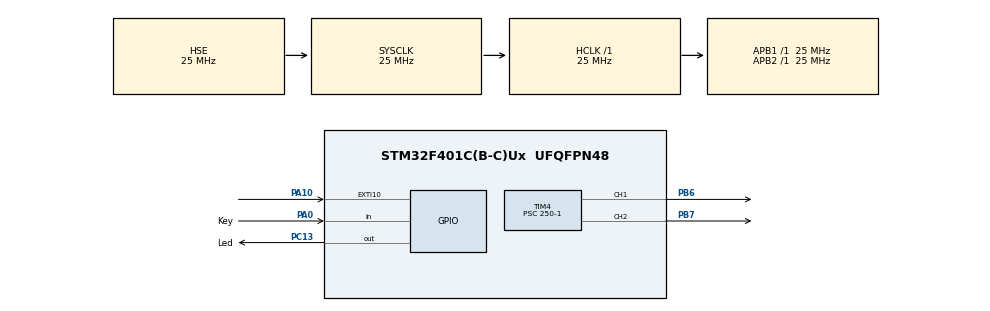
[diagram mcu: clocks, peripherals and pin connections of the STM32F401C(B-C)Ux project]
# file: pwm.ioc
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FREERTOS.Tasks01=pwm01Task,24,128,StartPwm01Task,Default,NULL,Dynamic,NULL,NULL;pwm02Task,24,128,StartPwm02Task,Default,NULL,Dynamic,NULL,NULL
FREERTOS.configUSE_NEWLIB_REENTRANT=1
Mcu.Family=STM32F4
Mcu.Name=STM32F401C(B-C)Ux
Mcu.Package=UFQFPN48
NVIC.EXTI15_10_IRQn=true\:0\:0\:false\:false\:true\:false\:true\:true\:true
NVIC.PriorityGroup=NVIC_PRIORITYGROUP_4
NVIC.TIM2_IRQn=true\:15\:0\:false\:false\:true\:false\:false\:true\:true
NVIC.TimeBase=TIM2_IRQn
NVIC.TimeBaseIP=TIM2
PA0-WKUP.GPIO_Label=Key
PA0-WKUP.GPIO_PuPd=GPIO_PULLUP
PA0-WKUP.Signal=GPIO_Input
PA10.GPIO_PuPd=GPIO_PULLUP
PA10.Signal=GPXTI10
PA13.Mode=Serial_Wire
PA13.Signal=SYS_JTMS-SWDIO
PA14.Mode=Serial_Wire
PA14.Signal=SYS_JTCK-SWCLK
PB6.Signal=S_TIM4_CH1
PB7.Signal=S_TIM4_CH2
PC13-ANTI_TAMP.GPIO_Label=Led
PC13-ANTI_TAMP.Signal=GPIO_Output
PC14-OSC32_IN.Mode=LSE-External-Oscillator
PC14-OSC32_IN.Signal=RCC_OSC32_IN
PC15-OSC32_OUT.Mode=LSE-External-Oscillator
PC15-OSC32_OUT.Signal=RCC_OSC32_OUT
PH0\ -\ OSC_IN.Mode=HSE-External-Oscillator
PH0\ -\ OSC_IN.Signal=RCC_OSC_IN
PH1\ -\ OSC_OUT.Mode=HSE-External-Oscillator
PH1\ -\ OSC_OUT.Signal=RCC_OSC_OUT
ProjectManager.HeapSize=0x200
ProjectManager.StackSize=0x400
ProjectManager.TargetToolchain=STM32CubeIDE
RCC.48MHZClocksFreq_Value=75000000
RCC.AHBFreq_Value=25000000
RCC.APB1Freq_Value=25000000
RCC.APB1TimFreq_Value=25000000
RCC.APB2Freq_Value=25000000
RCC.APB2TimFreq_Value=25000000
RCC.CortexFreq_Value=25000000
RCC.HCLKFreq_Value=25000000
RCC.HSE_VALUE=25000000
RCC.HSI_VALUE=16000000
RCC.PLLSourceVirtual=RCC_PLLSOURCE_HSE
RCC.SYSCLKFreq_VALUE=25000000
RCC.SYSCLKSource=RCC_SYSCLKSOURCE_HSE
RCC.VCOOutputFreq_Value=300000000
SH.S_TIM4_CH1.0=TIM4_CH1,PWM Generation1 CH1
SH.S_TIM4_CH2.0=TIM4_CH2,PWM Generation2 CH2
TIM4.Channel-PWM\ Generation1\ CH1=TIM_CHANNEL_1
TIM4.Channel-PWM\ Generation2\ CH2=TIM_CHANNEL_2
TIM4.Period=100-1
TIM4.Prescaler=250-1
TIM4.Pulse-PWM\ Generation1\ CH1=50-1
TIM4.Pulse-PWM\ Generation2\ CH2=25-1
VP_FREERTOS_VS_CMSIS_V2.Mode=CMSIS_V2
VP_SYS_VS_tim2.Mode=TIM2
board=custom

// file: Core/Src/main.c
/* USER CODE BEGIN Header */
/**
  ******************************************************************************
  * @file           : main.c
  * @brief          : Main program body
  ******************************************************************************
  * @attention
  *
  * Copyright (c) 2023 STMicroelectronics.
  * All rights reserved.
  *
  * This software is licensed under terms that can be found in the LICENSE file
  * in the root directory of this software component.
  * If no LICENSE file comes with this software, it is provided AS-IS.
  *
  ******************************************************************************
  */
/* USER CODE END Header */
#include "main.h"
#include "cmsis_os.h"

TIM_HandleTypeDef htim4;

/* Definitions for pwm01Task */
osThreadId_t pwm01TaskHandle;
const osThreadAttr_t pwm01Task_attributes = {
  .name = "pwm01Task",
  .stack_size = 128 * 4,
  .priority = (osPriority_t) osPriorityNormal,
};
/* Definitions for pwm02Task */
osThreadId_t pwm02TaskHandle;
const osThreadAttr_t pwm02Task_attributes = {
  .name = "pwm02Task",
  .stack_size = 128 * 4,
  .priority = (osPriority_t) osPriorityNormal,
};
/* USER CODE BEGIN PV */

int dutyCycle=0;
int count=0;

/* USER CODE END PV */

void SystemClock_Config(void);
static void MX_GPIO_Init(void);
static void MX_TIM4_Init(void);
void StartPwm01Task(void *argument);
void StartPwm02Task(void *argument);

int main(void)
{

  /* MCU Configuration--------------------------------------------------------*/

  /* Reset of all peripherals, Initializes the Flash interface and the Systick. */
  HAL_Init();

  /* Configure the system clock */
  SystemClock_Config();

  /* Initialize all configured peripherals */
  MX_GPIO_Init();
  MX_TIM4_Init();
  /* USER CODE BEGIN 2 */

  HAL_TIM_PWM_Start(&htim4,TIM_CHANNEL_1);
  HAL_TIM_PWM_Start(&htim4,TIM_CHANNEL_2);

  /* USER CODE END 2 */

  /* Init scheduler */
  osKernelInitialize();

  /* Create the thread(s) */
  /* creation of pwm01Task */
  pwm01TaskHandle = osThreadNew(StartPwm01Task, NULL, &pwm01Task_attributes);

  /* creation of pwm02Task */
  pwm02TaskHandle = osThreadNew(StartPwm02Task, NULL, &pwm02Task_attributes);

  /* Start scheduler */
  osKernelStart();

  /* We should never get here as control is now taken by the scheduler */
  /* Infinite loop */
  while (1)
  {

  }
}

void SystemClock_Config(void)
{
  RCC_OscInitTypeDef RCC_OscInitStruct = {0};
  RCC_ClkInitTypeDef RCC_ClkInitStruct = {0};

  /** Configure the main internal regulator output voltage
  */
  __HAL_RCC_PWR_CLK_ENABLE();
  __HAL_PWR_VOLTAGESCALING_CONFIG(PWR_REGULATOR_VOLTAGE_SCALE2);

  /** Initializes the RCC Oscillators according to the specified parameters
  * in the RCC_OscInitTypeDef structure.
  */
  RCC_OscInitStruct.OscillatorType = RCC_OSCILLATORTYPE_HSE;
  RCC_OscInitStruct.HSEState = RCC_HSE_ON;
  RCC_OscInitStruct.PLL.PLLState = RCC_PLL_NONE;
  if (HAL_RCC_OscConfig(&RCC_OscInitStruct) != HAL_OK)
  {
    Error_Handler();
  }

  /** Initializes the CPU, AHB and APB buses clocks
  */
  RCC_ClkInitStruct.ClockType = RCC_CLOCKTYPE_HCLK|RCC_CLOCKTYPE_SYSCLK
                              |RCC_CLOCKTYPE_PCLK1|RCC_CLOCKTYPE_PCLK2;
  RCC_ClkInitStruct.SYSCLKSource = RCC_SYSCLKSOURCE_HSE;
  RCC_ClkInitStruct.AHBCLKDivider = RCC_SYSCLK_DIV1;
  RCC_ClkInitStruct.APB1CLKDivider = RCC_HCLK_DIV1;
  RCC_ClkInitStruct.APB2CLKDivider = RCC_HCLK_DIV1;

  if (HAL_RCC_ClockConfig(&RCC_ClkInitStruct, FLASH_LATENCY_0) != HAL_OK)
  {
    Error_Handler();
  }
}

static void MX_TIM4_Init(void)
{

  TIM_MasterConfigTypeDef sMasterConfig = {0};
  TIM_OC_InitTypeDef sConfigOC = {0};

  htim4.Instance = TIM4;
  htim4.Init.Prescaler = 250-1;
  htim4.Init.CounterMode = TIM_COUNTERMODE_UP;
  htim4.Init.Period = 100-1;
  htim4.Init.ClockDivision = TIM_CLOCKDIVISION_DIV1;
  htim4.Init.AutoReloadPreload = TIM_AUTORELOAD_PRELOAD_DISABLE;
  if (HAL_TIM_PWM_Init(&htim4) != HAL_OK)
  {
    Error_Handler();
  }
  sMasterConfig.MasterOutputTrigger = TIM_TRGO_RESET;
  sMasterConfig.MasterSlaveMode = TIM_MASTERSLAVEMODE_DISABLE;
  if (HAL_TIMEx_MasterConfigSynchronization(&htim4, &sMasterConfig) != HAL_OK)
  {
    Error_Handler();
  }
  sConfigOC.OCMode = TIM_OCMODE_PWM1;
  sConfigOC.Pulse = 50-1;
  sConfigOC.OCPolarity = TIM_OCPOLARITY_HIGH;
  sConfigOC.OCFastMode = TIM_OCFAST_DISABLE;
  if (HAL_TIM_PWM_ConfigChannel(&htim4, &sConfigOC, TIM_CHANNEL_1) != HAL_OK)
  {
    Error_Handler();
  }
  sConfigOC.Pulse = 25-1;
  if (HAL_TIM_PWM_ConfigChannel(&htim4, &sConfigOC, TIM_CHANNEL_2) != HAL_OK)
  {
    Error_Handler();
  }
  HAL_TIM_MspPostInit(&htim4);

}

static void MX_GPIO_Init(void)
{
  GPIO_InitTypeDef GPIO_InitStruct = {0};

  /* GPIO Ports Clock Enable */
  __HAL_RCC_GPIOC_CLK_ENABLE();
  __HAL_RCC_GPIOH_CLK_ENABLE();
  __HAL_RCC_GPIOA_CLK_ENABLE();
  __HAL_RCC_GPIOB_CLK_ENABLE();

  /*Configure GPIO pin Output Level */
  HAL_GPIO_WritePin(Led_GPIO_Port, Led_Pin, GPIO_PIN_RESET);

  /*Configure GPIO pin : Led_Pin */
  GPIO_InitStruct.Pin = Led_Pin;
  GPIO_InitStruct.Mode = GPIO_MODE_OUTPUT_PP;
  GPIO_InitStruct.Pull = GPIO_NOPULL;
  GPIO_InitStruct.Speed = GPIO_SPEED_FREQ_LOW;
  HAL_GPIO_Init(Led_GPIO_Port, &GPIO_InitStruct);

  /*Configure GPIO pin : Key_Pin */
  GPIO_InitStruct.Pin = Key_Pin;
  GPIO_InitStruct.Mode = GPIO_MODE_INPUT;
  GPIO_InitStruct.Pull = GPIO_PULLUP;
  HAL_GPIO_Init(Key_GPIO_Port, &GPIO_InitStruct);

  /*Configure GPIO pin : PA10 */
  GPIO_InitStruct.Pin = GPIO_PIN_10;
  GPIO_InitStruct.Mode = GPIO_MODE_IT_RISING;
  GPIO_InitStruct.Pull = GPIO_PULLUP;
  HAL_GPIO_Init(GPIOA, &GPIO_InitStruct);

  /* EXTI interrupt init*/
  HAL_NVIC_SetPriority(EXTI15_10_IRQn, 0, 0);
  HAL_NVIC_EnableIRQ(EXTI15_10_IRQn);

}

/* USER CODE BEGIN 4 */

void HAL_GPIO_EXTI_Callback(uint16_t GPIO_Pin){

	if(GPIO_Pin == GPIO_PIN_10){

		count++;
	}

}

/* USER CODE END 4 */

void StartPwm01Task(void *argument)
{
  /* USER CODE BEGIN 5 */
  /* Infinite loop */
  for(;;)
  {
	switch(dutyCycle){

	case 0:
		TIM4->CCR1 = 10;
		dutyCycle++;
			break;
	case 1:
		TIM4->CCR1 = 20;
		dutyCycle++;
		break;
	case 2:
		TIM4->CCR1 = 30;
		dutyCycle++;
		break;
	case 3:
			TIM4->CCR1 = 40;
			dutyCycle++;
			break;
	case 4:
			TIM4->CCR1 = 50;
			dutyCycle++;
			break;
	case 5:
			TIM4->CCR1 = 60;
			dutyCycle++;
			break;
	case 6:
			TIM4->CCR1 = 70;
			dutyCycle++;
			break;
	case 7:
			TIM4->CCR1 = 80;
			dutyCycle++;
			break;
	case 8:
			TIM4->CCR1 = 90;
			dutyCycle++;
			break;
	case 9:
			TIM4->CCR1 = 100;
			dutyCycle=0;
			break;

	}
    osDelay(100);
  }
  /* USER CODE END 5 */
}

void StartPwm02Task(void *argument)
{
  /* USER CODE BEGIN StartPwm02Task */
  /* Infinite loop */
  for(;;)
  {

	if(count>9)
		count=0;

	int pwm=10*count;

	TIM4->CCR2=pwm;

    osDelay(50);
  }
  /* USER CODE END StartPwm02Task */
}

void HAL_TIM_PeriodElapsedCallback(TIM_HandleTypeDef *htim)
{
  if (htim->Instance == TIM2) {
    HAL_IncTick();
  }
}

void Error_Handler(void)
{
  __disable_irq();
  while (1)
  {
  }
}
